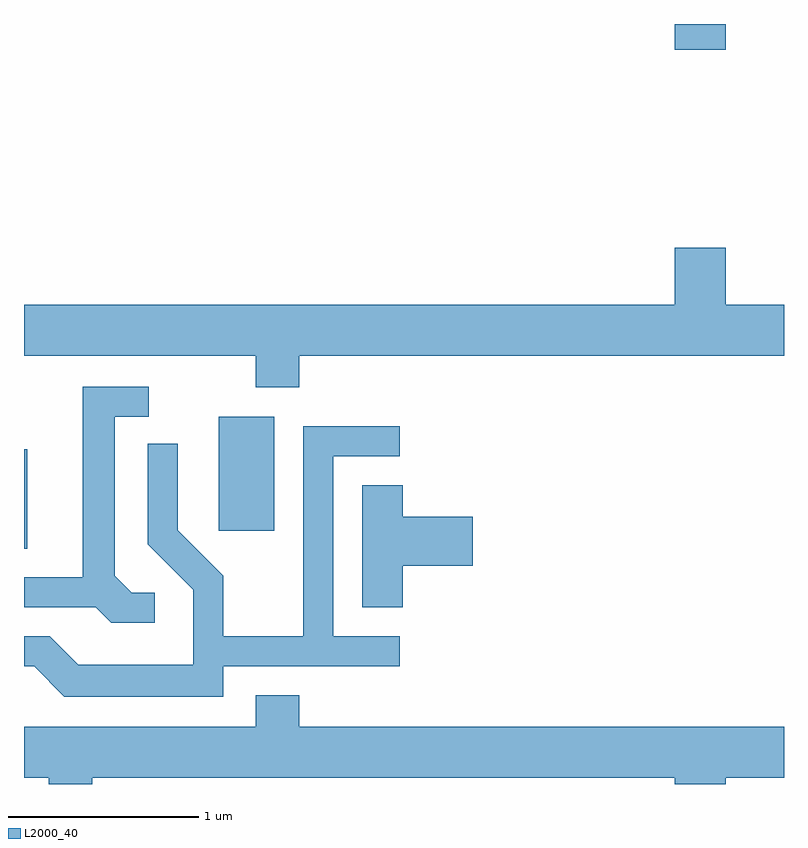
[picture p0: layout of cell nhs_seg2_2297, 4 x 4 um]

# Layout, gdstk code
import gdstk
lib = gdstk.Library(unit=1e-6, precision=1e-09)
def R(c, l, rs):  # rectangles x0, y0, x1, y1
    for r in rs: c.add(gdstk.rectangle(r[:2], r[2:], *l))
def P(c, l, *ps):  # polygons
    for p in ps: c.add(gdstk.Polygon(p, *l))
L2000_40 = (2000, 40)

nhs_seg2_2297 = lib.new_cell('nhs_seg2_2297')
R(nhs_seg2_2297, L2000_40, [(251.611,1085.041,251.629,1085.564), (252.636,1085.136,252.929,1085.734), (255.036,1087.666,255.304,1087.802)])
P(nhs_seg2_2297, L2000_40, [(253.059,1086.056),(255.611,1086.056),(255.611,1086.324),(255.304,1086.324),(255.304,1086.624),(255.036,1086.624),(255.036,1086.324),(251.611,1086.324),(251.611,1086.056),(252.831,1086.056),(252.831,1085.891),(253.059,1085.891)],
  [(252.298,1084.809),(252.177,1084.809),(252.089,1084.897),(252.089,1085.736),(252.268,1085.736),(252.268,1085.894),(251.921,1085.894),(251.921,1084.889),(251.611,1084.889),(251.611,1084.731),(251.989,1084.731),(252.069,1084.651),(252.298,1084.651)],
  [(252.659,1084.421),(253.588,1084.421),(253.588,1084.579),(253.239,1084.579),(253.239,1085.526),(253.588,1085.526),(253.588,1085.684),(253.081,1085.684),(253.081,1084.579),(252.659,1084.579),(252.659,1084.897),(252.419,1085.137),(252.419,1085.593),(252.261,1085.593),(252.261,1085.064),(252.501,1084.824),(252.501,1084.429),(251.897,1084.429),(251.747,1084.579),(251.611,1084.579),(251.611,1084.421),(251.664,1084.421),(251.824,1084.261),(252.659,1084.261)],
  [(253.604,1084.951),(253.974,1084.951),(253.974,1085.209),(253.604,1085.209),(253.604,1085.374),(253.391,1085.374),(253.391,1084.731),(253.604,1084.731)],
  [(251.969,1083.836),(255.036,1083.836),(255.036,1083.802),(255.304,1083.802),(255.304,1083.836),(255.611,1083.836),(255.611,1084.104),(253.059,1084.104),(253.059,1084.269),(252.831,1084.269),(252.831,1084.104),(251.611,1084.104),(251.611,1083.836),(251.741,1083.836),(251.741,1083.802),(251.969,1083.802)])

lib.write_gds('nhs_seg2_2297.gds')
